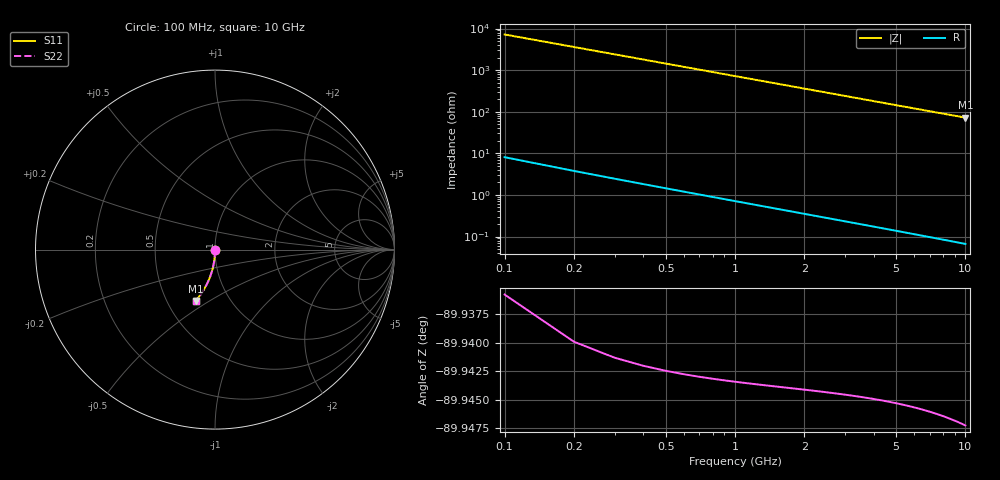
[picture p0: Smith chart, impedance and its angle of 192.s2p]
# Hz S RI R 50.00
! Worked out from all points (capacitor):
!   100 points, 100 MHz to 10 GHz, reference 50 ohm
!   read as one part in shunt: C = 221 fF near 100 MHz
!   lowest |Z| = 72.1 ohm at 10 GHz (marker M1)
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1e8  0.00018 -0.00322  0.9998 -0.00373  0.9998 -0.00373  0.00018 -0.00322
2e8  0.000142 -0.00643  0.9997 -0.00746  0.9997 -0.00746  0.000142 -0.00643
3e8  7.96e-05 -0.00965  0.9997 -0.0112  0.9997 -0.0112  7.96e-05 -0.00965
4e8  -6.95e-06 -0.0129  0.9996 -0.0149  0.9996 -0.0149  -6.95e-06 -0.0129
5e8  -0.000118 -0.0161  0.9995 -0.0186  0.9995 -0.0186  -0.000118 -0.0161
6e8  -0.000252 -0.0193  0.9993 -0.0224  0.9993 -0.0224  -0.000252 -0.0193
7e8  -0.000411 -0.0225  0.9992 -0.0261  0.9992 -0.0261  -0.000411 -0.0225
8e8  -0.000593 -0.0257  0.999 -0.0298  0.999 -0.0298  -0.000593 -0.0257
9e8  -0.0008 -0.0289  0.9988 -0.0335  0.9988 -0.0335  -0.0008 -0.0289
1.1e9  -0.00128 -0.0353  0.9983 -0.041  0.9983 -0.041  -0.00128 -0.0353
1.4e9  -0.00219 -0.0449  0.9974 -0.0521  0.9974 -0.0521  -0.00219 -0.0449
1.8e9  -0.00373 -0.0577  0.9958 -0.0669  0.9958 -0.0669  -0.00373 -0.0577
2.1e9  -0.00513 -0.0672  0.9944 -0.078  0.9944 -0.078  -0.00513 -0.0672
2.5e9  -0.00733 -0.0798  0.9922 -0.0926  0.9922 -0.0926  -0.00733 -0.0798
2.9e9  -0.00989 -0.0923  0.9896 -0.1072  0.9896 -0.1072  -0.00989 -0.0923
3.4e9  -0.0136 -0.1078  0.9858 -0.1253  0.9858 -0.1253  -0.0136 -0.1078
4.2e9  -0.0207 -0.1322  0.9786 -0.1538  0.9786 -0.1538  -0.0207 -0.1322
5.1e9  -0.0303 -0.1589  0.9689 -0.1852  0.9689 -0.1852  -0.0303 -0.1589
5.9e9  -0.0402 -0.1819  0.9589 -0.2123  0.9589 -0.2123  -0.0402 -0.1819
6.7e9  -0.0514 -0.2041  0.9476 -0.2386  0.9476 -0.2386  -0.0514 -0.2041
8.4e9  -0.0787 -0.2482  0.9199 -0.2916  0.9199 -0.2916  -0.0787 -0.2482
1e10  -0.1083 -0.2856  0.8899 -0.3373  0.8899 -0.3373  -0.1083 -0.2856
